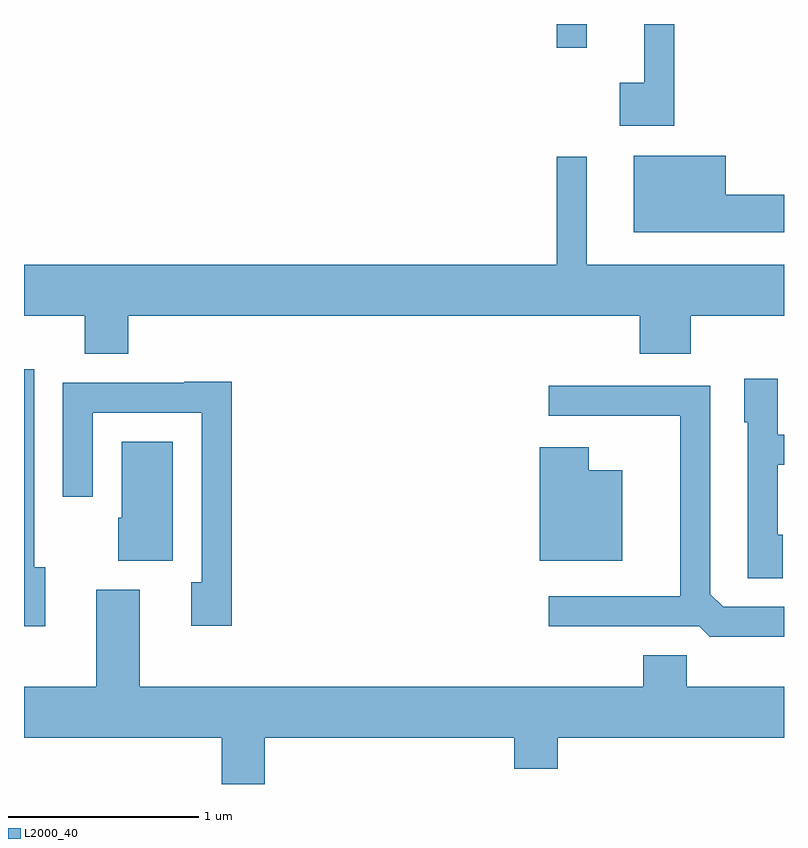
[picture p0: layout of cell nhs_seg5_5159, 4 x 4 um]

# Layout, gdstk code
import gdstk
lib = gdstk.Library(unit=1e-6, precision=1e-09)
def R(c, l, rs):  # rectangles x0, y0, x1, y1
    for r in rs: c.add(gdstk.rectangle(r[:2], r[2:], *l))
def P(c, l, *ps):  # polygons
    for p in ps: c.add(gdstk.Polygon(p, *l))
L2000_40 = (2000, 40)

nhs_seg5_5159 = lib.new_cell('nhs_seg5_5159')
R(nhs_seg5_5159, L2000_40, [(340.416,1495.948,340.574,1496.072)])
P(nhs_seg5_5159, L2000_40, [(341.034,1496.072),(340.876,1496.072),(340.876,1495.764),(340.746,1495.764),(340.746,1495.536),(341.034,1495.536)],
  [(341.611,1495.174),(341.304,1495.174),(341.304,1495.379),(340.821,1495.379),(340.821,1494.976),(341.611,1494.976)],
  [(337.611,1494.536),(337.931,1494.536),(337.931,1494.336),(338.159,1494.336),(338.159,1494.536),(340.851,1494.536),(340.851,1494.336),(341.119,1494.336),(341.119,1494.536),(341.611,1494.536),(341.611,1494.804),(340.574,1494.804),(340.574,1495.373),(340.416,1495.373),(340.416,1494.804),(337.611,1494.804)],
  [(337.724,1493.214),(337.664,1493.214),(337.664,1494.254),(337.611,1494.254),(337.611,1492.901),(337.724,1492.901)],
  [(341.604,1493.384),(341.579,1493.384),(341.579,1493.751),(341.611,1493.751),(341.611,1493.909),(341.579,1493.909),(341.579,1494.204),(341.401,1494.204),(341.401,1493.976),(341.421,1493.976),(341.421,1493.156),(341.604,1493.156)],
  [(338.704,1494.189),(338.455,1494.189),(338.455,1494.184),(337.816,1494.184),(337.816,1493.583),(337.974,1493.583),(337.974,1494.026),(338.546,1494.026),(338.546,1493.134),(338.491,1493.134),(338.491,1492.906),(338.704,1492.906)],
  [(341.611,1493.004),(341.292,1493.004),(341.224,1493.072),(341.224,1494.169),(340.373,1494.169),(340.373,1494.011),(341.066,1494.011),(341.066,1493.059),(340.373,1493.059),(340.373,1492.901),(341.164,1492.901),(341.219,1492.846),(341.611,1492.846)],
  [(338.394,1493.874),(338.126,1493.874),(338.126,1493.474),(338.106,1493.474),(338.106,1493.246),(338.394,1493.246)],
  [(340.759,1493.724),(340.584,1493.724),(340.584,1493.844),(340.326,1493.844),(340.326,1493.246),(340.759,1493.246)],
  [(338.879,1492.316),(340.191,1492.316),(340.191,1492.151),(340.419,1492.151),(340.419,1492.316),(341.611,1492.316),(341.611,1492.584),(341.099,1492.584),(341.099,1492.749),(340.871,1492.749),(340.871,1492.584),(338.219,1492.584),(338.219,1493.094),(337.991,1493.094),(337.991,1492.584),(337.611,1492.584),(337.611,1492.316),(338.651,1492.316),(338.651,1492.072),(338.879,1492.072)])

lib.write_gds('nhs_seg5_5159.gds')
